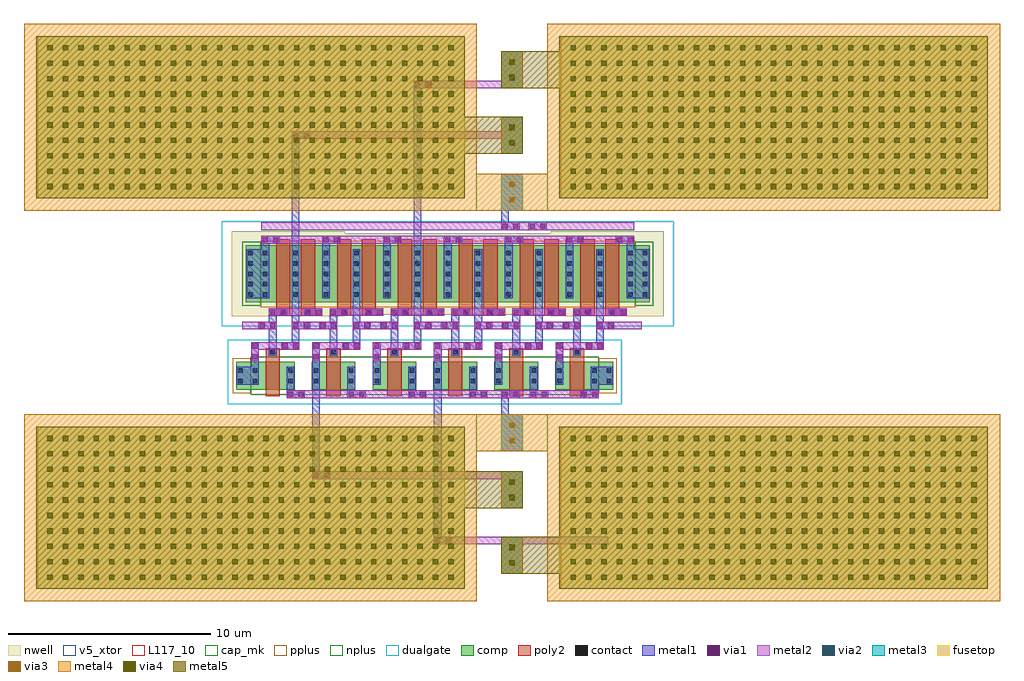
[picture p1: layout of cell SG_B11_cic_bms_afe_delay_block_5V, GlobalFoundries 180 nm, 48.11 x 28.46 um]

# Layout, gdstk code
from math import pi, radians
import gdstk
lib = gdstk.Library(unit=1e-6, precision=5e-09)
def R(c, l, rs):  # rectangles x0, y0, x1, y1
    for r in rs: c.add(gdstk.rectangle(r[:2], r[2:], *l))
def A(c, l, x, y, w, h, nx, ny, dx, dy):  # array of equal rectangles
    R(c, l, [(x+i*dx, y+j*dy, x+i*dx+w, y+j*dy+h) for i in range(nx) for j in range(ny)])
nwell = (21, 0)
comp = (22, 0)
poly2 = (30, 0)
pplus = (31, 0)
nplus = (32, 0)
contact = (33, 0)
metal1 = (34, 0)
via1 = (35, 0)
metal2 = (36, 0)
via2 = (38, 0)
via3 = (40, 0)
via4 = (41, 0)
metal3 = (42, 0)
metal4 = (46, 0)
dualgate = (55, 0)
fusetop = (75, 0)
metal5 = (81, 0)
v5_xtor = (112, 1)
cap_mk = (117, 5)
L117_10 = (117, 10)

cap_mim_2 = lib.new_cell('cap_mim$2')
A(cap_mim_2, via4, 0.45, 0.555, 0.26, 0.26, 10, 27, 0.76, 0.76)
R(cap_mim_2, metal4, [(-0.6,-0.6,8.6,21.725)])
R(cap_mim_2, fusetop, [(0,0,8,21.125)])
R(cap_mim_2, metal5, [(0,0,8,21.125)])
R(cap_mim_2, cap_mk, [(-0.6,-0.6,8.6,21.725)])
R(cap_mim_2, L117_10, [(0,0,8,0.1)])
cap_mim_2.add(gdstk.Label('A', (4,10.56), layer=81, texttype=10))
cap_mim_2.add(gdstk.Label('B', (4,-0.3), layer=46, texttype=10))

cap_mim_1_5 = lib.new_cell('cap_mim$1$5')
A(cap_mim_1_5, via4, 0.45, 0.555, 0.26, 0.26, 10, 27, 0.76, 0.76)
R(cap_mim_1_5, metal4, [(-0.6,-0.6,8.6,21.725)])
R(cap_mim_1_5, fusetop, [(0,0,8,21.125)])
R(cap_mim_1_5, metal5, [(0,0,8,21.125)])
R(cap_mim_1_5, cap_mk, [(-0.6,-0.6,8.6,21.725)])
R(cap_mim_1_5, L117_10, [(0,0,8,0.1)])

cap_mim_4_2 = lib.new_cell('cap_mim$4$2')
A(cap_mim_4_2, via4, 0.45, 0.555, 0.26, 0.26, 10, 27, 0.76, 0.76)
R(cap_mim_4_2, metal4, [(-0.6,-0.6,8.6,21.725)])
R(cap_mim_4_2, fusetop, [(0,0,8,21.125)])
R(cap_mim_4_2, metal5, [(0,0,8,21.125)])
R(cap_mim_4_2, cap_mk, [(-0.6,-0.6,8.6,21.725)])
R(cap_mim_4_2, L117_10, [(0,0,8,0.1)])

pfet_2_7 = lib.new_cell('pfet$2$7')
R(pfet_2_7, nwell, [(-1.07,-0.61,3.61,3.41)])
R(pfet_2_7, comp, [(-0.46,0,0,2.8), (0,0,2.54,2.8), (2.54,0,3,2.8)])
R(pfet_2_7, poly2, [(0.31,-0.68,1.01,-0.3), (1.53,-0.68,2.23,-0.3), (0.31,-0.3,1.01,3.1), (1.53,-0.3,2.23,3.1)])
R(pfet_2_7, pplus, [(-0.63,-0.24,3.17,3.04)])
A(pfet_2_7, contact, -0.34, 0.27, 0.22, 0.22, 3, 5, 1.5, 0.51)
R(pfet_2_7, contact, [(0.55,-0.6,0.77,-0.38), (1.77,-0.6,1.99,-0.38)])
A(pfet_2_7, metal1, -0.42, 0.19, 0.38, 2.42, 3, 1, 1.5, 0)
R(pfet_2_7, metal1, [(0.47,-0.68,0.85,-0.3), (1.69,-0.68,2.07,-0.3)])
R(pfet_2_7, dualgate, [(-1.57,-1.11,4.11,3.91), (-0.88,-1.09,3.42,3.51)])
R(pfet_2_7, v5_xtor, [(-1.57,-1.11,4.11,3.91), (-0.88,-1.09,3.42,3.51)])

nfet_2_8 = lib.new_cell('nfet$2$8')
R(nfet_2_8, comp, [(-0.42,0,0,1.4), (0,0,1.32,1.4), (1.32,0,1.74,1.4)])
R(nfet_2_8, poly2, [(0.31,-0.3,1.01,1.7), (0.31,1.7,1.01,2.06)])
R(nfet_2_8, nplus, [(-0.59,-0.24,1.91,1.64)])
R(nfet_2_8, contact, [(-0.32,0.335,-0.1,0.555), (1.42,0.335,1.64,0.555), (-0.32,0.845,-0.1,1.065), (1.42,0.845,1.64,1.065), (0.55,1.77,0.77,1.99)])
R(nfet_2_8, metal1, [(-0.4,0.255,-0.02,1.145), (1.34,0.255,1.72,1.145), (0.47,1.69,0.85,2.07)])
R(nfet_2_8, dualgate, [(-0.84,-0.71,2.16,2.48)])
R(nfet_2_8, v5_xtor, [(-0.84,-0.71,2.16,2.48)])

sg_b11_cic_bms_afe_inv_1 = lib.new_cell('SG_B11_cic_bms_afe_inv_1x$1$2')
R(sg_b11_cic_bms_afe_inv_1, metal1, [(0.29,1.855,0.67,2.755), (1.77,2.375,2.67,2.755), (0.64,3.385,1.54,3.765), (1.16,4.05,2.06,4.43), (2.9,4.05,3.8,4.43)])
R(sg_b11_cic_bms_afe_inv_1, via1, [(0.35,1.915,0.61,2.175), (0.35,2.435,0.61,2.695), (1.83,2.435,2.09,2.695), (2.35,2.435,2.61,2.695), (0.7,3.445,0.96,3.705), (1.22,3.445,1.48,3.705), (1.22,4.11,1.48,4.37), (1.74,4.11,2,4.37), (2.96,4.11,3.22,4.37), (3.48,4.11,3.74,4.37)])
R(sg_b11_cic_bms_afe_inv_1, metal2, [(0.29,1.855,0.67,2.755), (1.77,2.375,2.67,2.755), (0.64,3.385,1.54,3.765), (1.16,4.05,2.06,4.43), (2.9,4.05,3.8,4.43)])
sg_b11_cic_bms_afe_inv_1.add(gdstk.FlexPath([(0.98,4.92),(0.98,8)], 0.38, ends="flush", simple_path=True, layer=34, datatype=0))  # metal1
sg_b11_cic_bms_afe_inv_1.add(gdstk.FlexPath([(3.98,4.92),(3.98,8)], 0.38, ends="flush", simple_path=True, layer=34, datatype=0))  # metal1
sg_b11_cic_bms_afe_inv_1.add(gdstk.FlexPath([(1.35,2.095),(1.35,4.43)], 0.38, ends="flush", simple_path=True, layer=34, datatype=0))  # metal1
sg_b11_cic_bms_afe_inv_1.add(gdstk.FlexPath([(2.22,1.55),(2.22,0)], 0.38, ends="flush", simple_path=True, layer=34, datatype=0))  # metal1
sg_b11_cic_bms_afe_inv_1.add(gdstk.FlexPath([(0.48,0.66),(0.48,2.755)], 0.38, ends="flush", simple_path=True, layer=34, datatype=0))  # metal1
sg_b11_cic_bms_afe_inv_1.add(gdstk.FlexPath([(2.48,7.34),(2.48,2.375)], 0.38, ends="flush", simple_path=True, layer=34, datatype=0))  # metal1
sg_b11_cic_bms_afe_inv_1.add(gdstk.FlexPath([(1.68,4.24),(3.28,4.24)], 0.38, ends="flush", simple_path=True, layer=36, datatype=0))  # metal2
sg_b11_cic_bms_afe_inv_1.add(gdstk.FlexPath([(0.29,2.565),(2.61,2.565)], 0.38, ends="flush", simple_path=True, layer=36, datatype=0))  # metal2
sg_b11_cic_bms_afe_inv_1.add(gdstk.FlexPath([(-0.15,3.575),(1.54,3.575)], 0.38, ends="flush", simple_path=True, layer=36, datatype=0))  # metal2
sg_b11_cic_bms_afe_inv_1.add(gdstk.Reference(pfet_2_7, (1.21,4.73)))
sg_b11_cic_bms_afe_inv_1.add(gdstk.Reference(nfet_2_8, (0.69,0.405)))
sg_b11_cic_bms_afe_inv_1.add(gdstk.Label('VSS', (0.37,0.155), layer=34, texttype=10))
sg_b11_cic_bms_afe_inv_1.add(gdstk.Label('VDD', (1.59,7.77), layer=34, texttype=10))
sg_b11_cic_bms_afe_inv_1.add(gdstk.Label('VSS', (0.37,0.155), layer=34, texttype=10))
sg_b11_cic_bms_afe_inv_1.add(gdstk.Label('VDD', (1.59,7.77), layer=34, texttype=10))
sg_b11_cic_bms_afe_inv_1.add(gdstk.Label('OUT', (2.23,2.56), layer=36, texttype=10))
sg_b11_cic_bms_afe_inv_1.add(gdstk.Label('IN', (0.5,3.485), layer=36, texttype=10))
sg_b11_cic_bms_afe_inv_1.add(gdstk.Label('OUT', (2.23,2.56), layer=36, texttype=10))
sg_b11_cic_bms_afe_inv_1.add(gdstk.Label('IN', (0.5,3.485), layer=36, texttype=10))

c_sg_b11_cic_bms_afe_inv_1 = lib.new_cell('SG_B11_cic_bms_afe_inv_1x$1$1$2')
R(c_sg_b11_cic_bms_afe_inv_1, metal1, [(0.29,1.855,0.67,2.755), (1.77,2.375,2.67,2.755), (0.64,3.385,1.54,3.765), (1.16,4.05,2.06,4.43), (2.9,4.05,3.8,4.43)])
R(c_sg_b11_cic_bms_afe_inv_1, via1, [(0.35,1.915,0.61,2.175), (0.35,2.435,0.61,2.695), (1.83,2.435,2.09,2.695), (2.35,2.435,2.61,2.695), (0.7,3.445,0.96,3.705), (1.22,3.445,1.48,3.705), (1.22,4.11,1.48,4.37), (1.74,4.11,2,4.37), (2.96,4.11,3.22,4.37), (3.48,4.11,3.74,4.37)])
R(c_sg_b11_cic_bms_afe_inv_1, metal2, [(0.29,1.855,0.67,2.755), (1.77,2.375,2.67,2.755), (0.64,3.385,1.54,3.765), (1.16,4.05,2.06,4.43), (2.9,4.05,3.8,4.43)])
c_sg_b11_cic_bms_afe_inv_1.add(gdstk.FlexPath([(0.98,4.92),(0.98,8)], 0.38, ends="flush", simple_path=True, layer=34, datatype=0))  # metal1
c_sg_b11_cic_bms_afe_inv_1.add(gdstk.FlexPath([(3.98,4.92),(3.98,8)], 0.38, ends="flush", simple_path=True, layer=34, datatype=0))  # metal1
c_sg_b11_cic_bms_afe_inv_1.add(gdstk.FlexPath([(1.35,2.095),(1.35,4.43)], 0.38, ends="flush", simple_path=True, layer=34, datatype=0))  # metal1
c_sg_b11_cic_bms_afe_inv_1.add(gdstk.FlexPath([(2.22,1.55),(2.22,0)], 0.38, ends="flush", simple_path=True, layer=34, datatype=0))  # metal1
c_sg_b11_cic_bms_afe_inv_1.add(gdstk.FlexPath([(0.48,0.66),(0.48,2.755)], 0.38, ends="flush", simple_path=True, layer=34, datatype=0))  # metal1
c_sg_b11_cic_bms_afe_inv_1.add(gdstk.FlexPath([(2.48,7.34),(2.48,2.375)], 0.38, ends="flush", simple_path=True, layer=34, datatype=0))  # metal1
c_sg_b11_cic_bms_afe_inv_1.add(gdstk.FlexPath([(1.68,4.24),(3.28,4.24)], 0.38, ends="flush", simple_path=True, layer=36, datatype=0))  # metal2
c_sg_b11_cic_bms_afe_inv_1.add(gdstk.FlexPath([(0.29,2.565),(2.61,2.565)], 0.38, ends="flush", simple_path=True, layer=36, datatype=0))  # metal2
c_sg_b11_cic_bms_afe_inv_1.add(gdstk.FlexPath([(-0.15,3.575),(1.54,3.575)], 0.38, ends="flush", simple_path=True, layer=36, datatype=0))  # metal2
c_sg_b11_cic_bms_afe_inv_1.add(gdstk.Reference(pfet_2_7, (1.21,4.73)))
c_sg_b11_cic_bms_afe_inv_1.add(gdstk.Reference(nfet_2_8, (0.69,0.405)))
c_sg_b11_cic_bms_afe_inv_1.add(gdstk.Label('VSS', (0.37,0.155), layer=34, texttype=10))
c_sg_b11_cic_bms_afe_inv_1.add(gdstk.Label('VDD', (1.59,7.77), layer=34, texttype=10))
c_sg_b11_cic_bms_afe_inv_1.add(gdstk.Label('VSS', (0.37,0.155), layer=34, texttype=10))
c_sg_b11_cic_bms_afe_inv_1.add(gdstk.Label('VDD', (1.59,7.77), layer=34, texttype=10))
c_sg_b11_cic_bms_afe_inv_1.add(gdstk.Label('OUT', (2.23,2.56), layer=36, texttype=10))
c_sg_b11_cic_bms_afe_inv_1.add(gdstk.Label('IN', (0.5,3.485), layer=36, texttype=10))
c_sg_b11_cic_bms_afe_inv_1.add(gdstk.Label('OUT', (2.23,2.56), layer=36, texttype=10))
c_sg_b11_cic_bms_afe_inv_1.add(gdstk.Label('IN', (0.5,3.485), layer=36, texttype=10))

pfet_14 = lib.new_cell('pfet$14')
R(pfet_14, nwell, [(-1.15,-0.69,4.42,3.49)])
R(pfet_14, comp, [(-0.46,0,0,2.8), (0,0,2.54,2.8), (2.54,0,3,2.8), (3,0,3.73,2.8)])
R(pfet_14, poly2, [(0.31,-0.68,1.01,-0.3), (1.53,-0.68,2.23,-0.3), (0.31,-0.3,1.01,3.1), (1.53,-0.3,2.23,3.1)])
R(pfet_14, pplus, [(-0.63,-0.24,3,3.04)])
R(pfet_14, nplus, [(3,-0.17,3.9,2.97)])
A(pfet_14, contact, -0.34, 0.27, 0.22, 0.22, 3, 5, 1.5, 0.51)
A(pfet_14, contact, 3.39, 0.27, 0.22, 0.22, 1, 5, 0, 0.51)
R(pfet_14, contact, [(0.55,-0.6,0.77,-0.38), (1.77,-0.6,1.99,-0.38)])
A(pfet_14, metal1, -0.42, 0.19, 0.38, 2.42, 3, 1, 1.5, 0)
R(pfet_14, metal1, [(0.47,-0.68,0.85,-0.3), (1.69,-0.68,2.07,-0.3), (3.31,0.19,3.69,2.61)])
R(pfet_14, dualgate, [(-1.65,-1.19,4.92,3.99)])
R(pfet_14, v5_xtor, [(-1.65,-1.19,4.92,3.99)])

nfet_1 = lib.new_cell('nfet$1')
R(nfet_1, comp, [(-0.42,0,0,1.4), (0,0,1.32,1.4), (1.32,0,1.74,1.4), (1.74,0,2.45,1.4)])
R(nfet_1, poly2, [(0.31,-0.3,1.01,1.7), (0.31,1.7,1.01,2.06)])
R(nfet_1, pplus, [(1.74,-0.17,2.62,1.57)])
R(nfet_1, nplus, [(-0.59,-0.24,1.74,1.64)])
R(nfet_1, contact, [(-0.32,0.335,-0.1,0.555), (1.42,0.335,1.64,0.555), (2.13,0.335,2.35,0.555), (-0.32,0.845,-0.1,1.065), (1.42,0.845,1.64,1.065), (2.13,0.845,2.35,1.065), (0.55,1.77,0.77,1.99)])
R(nfet_1, metal1, [(-0.4,0.255,-0.02,1.145), (1.34,0.255,1.72,1.145), (2.05,0.255,2.43,1.145), (0.47,1.69,0.85,2.07)])
R(nfet_1, dualgate, [(-0.84,-0.71,2.87,2.48)])
R(nfet_1, v5_xtor, [(-0.84,-0.71,2.87,2.48)])

c_sg_b11_cic_bms_afe_inv_1_ = lib.new_cell('SG_B11_cic_bms_afe_inv_1x$3')
R(c_sg_b11_cic_bms_afe_inv_1_, metal1, [(-0.42,0.66,0.67,1.55), (0.29,1.855,0.67,2.755), (1.77,2.375,2.67,2.755), (0.64,3.39,1.54,3.77), (1.16,4.05,2.06,4.43), (2.9,4.05,3.8,4.43), (0.06,4.92,1.17,7.34)])
R(c_sg_b11_cic_bms_afe_inv_1_, via1, [(0.35,1.915,0.61,2.175), (0.35,2.435,0.61,2.695), (1.83,2.435,2.09,2.695), (2.35,2.435,2.61,2.695), (0.7,3.45,0.96,3.71), (1.22,3.45,1.48,3.71), (1.22,4.11,1.48,4.37), (1.74,4.11,2,4.37), (2.96,4.11,3.22,4.37), (3.48,4.11,3.74,4.37)])
R(c_sg_b11_cic_bms_afe_inv_1_, metal2, [(0.29,1.855,0.67,2.755), (1.77,2.375,2.67,2.755), (0.64,3.39,1.54,3.77), (1.16,4.05,2.06,4.43), (2.9,4.05,3.8,4.43)])
c_sg_b11_cic_bms_afe_inv_1_.add(gdstk.FlexPath([(0.98,4.92),(0.98,8)], 0.38, ends="flush", simple_path=True, layer=34, datatype=0))  # metal1
c_sg_b11_cic_bms_afe_inv_1_.add(gdstk.FlexPath([(3.98,4.92),(3.98,8)], 0.38, ends="flush", simple_path=True, layer=34, datatype=0))  # metal1
c_sg_b11_cic_bms_afe_inv_1_.add(gdstk.FlexPath([(1.35,2.095),(1.35,4.43)], 0.38, ends="flush", simple_path=True, layer=34, datatype=0))  # metal1
c_sg_b11_cic_bms_afe_inv_1_.add(gdstk.FlexPath([(2.22,1.55),(2.22,0)], 0.38, ends="flush", simple_path=True, layer=34, datatype=0))  # metal1
c_sg_b11_cic_bms_afe_inv_1_.add(gdstk.FlexPath([(0.48,0.66),(0.48,2.755)], 0.38, ends="flush", simple_path=True, layer=34, datatype=0))  # metal1
c_sg_b11_cic_bms_afe_inv_1_.add(gdstk.FlexPath([(2.48,7.34),(2.48,2.375)], 0.38, ends="flush", simple_path=True, layer=34, datatype=0))  # metal1
c_sg_b11_cic_bms_afe_inv_1_.add(gdstk.FlexPath([(1.68,4.24),(3.28,4.24)], 0.38, ends="flush", simple_path=True, layer=36, datatype=0))  # metal2
c_sg_b11_cic_bms_afe_inv_1_.add(gdstk.FlexPath([(0.29,2.565),(2.61,2.565)], 0.38, ends="flush", simple_path=True, layer=36, datatype=0))  # metal2
c_sg_b11_cic_bms_afe_inv_1_.add(gdstk.FlexPath([(-0.15,3.58),(1.54,3.58)], 0.38, ends="flush", simple_path=True, layer=36, datatype=0))  # metal2
c_sg_b11_cic_bms_afe_inv_1_.add(gdstk.Reference(pfet_14, (3.75,4.73), rotation=pi, x_reflection=True))
c_sg_b11_cic_bms_afe_inv_1_.add(gdstk.Reference(nfet_1, (2.01,0.405), rotation=pi, x_reflection=True))
c_sg_b11_cic_bms_afe_inv_1_.add(gdstk.Label('VSS', (0.37,0.155), layer=34, texttype=10))
c_sg_b11_cic_bms_afe_inv_1_.add(gdstk.Label('VDD', (1.59,7.77), layer=34, texttype=10))
c_sg_b11_cic_bms_afe_inv_1_.add(gdstk.Label('VSS', (0.37,0.155), layer=34, texttype=10))
c_sg_b11_cic_bms_afe_inv_1_.add(gdstk.Label('VDD', (1.59,7.77), layer=34, texttype=10))
c_sg_b11_cic_bms_afe_inv_1_.add(gdstk.Label('OUT', (2.23,2.56), layer=36, texttype=10))
c_sg_b11_cic_bms_afe_inv_1_.add(gdstk.Label('IN', (0.5,3.485), layer=36, texttype=10))
c_sg_b11_cic_bms_afe_inv_1_.add(gdstk.Label('OUT', (2.23,2.56), layer=36, texttype=10))
c_sg_b11_cic_bms_afe_inv_1_.add(gdstk.Label('IN', (0.5,3.485), layer=36, texttype=10))

c_sg_b11_cic_bms_afe_inv_1__ = lib.new_cell('SG_B11_cic_bms_afe_inv_1x$2$2')
R(c_sg_b11_cic_bms_afe_inv_1__, metal1, [(0.29,1.855,0.67,2.755), (1.77,2.375,2.67,2.755), (0.64,3.385,1.54,3.765), (1.16,4.05,2.06,4.43), (2.9,4.05,3.8,4.43)])
R(c_sg_b11_cic_bms_afe_inv_1__, via1, [(0.35,1.915,0.61,2.175), (0.35,2.435,0.61,2.695), (1.83,2.435,2.09,2.695), (2.35,2.435,2.61,2.695), (0.7,3.445,0.96,3.705), (1.22,3.445,1.48,3.705), (1.22,4.11,1.48,4.37), (1.74,4.11,2,4.37), (2.96,4.11,3.22,4.37), (3.48,4.11,3.74,4.37)])
R(c_sg_b11_cic_bms_afe_inv_1__, metal2, [(0.29,1.855,0.67,2.755), (1.77,2.375,2.67,2.755), (0.64,3.385,1.54,3.765), (1.16,4.05,2.06,4.43), (2.9,4.05,3.8,4.43)])
c_sg_b11_cic_bms_afe_inv_1__.add(gdstk.FlexPath([(0.98,4.92),(0.98,8)], 0.38, ends="flush", simple_path=True, layer=34, datatype=0))  # metal1
c_sg_b11_cic_bms_afe_inv_1__.add(gdstk.FlexPath([(3.98,4.92),(3.98,8)], 0.38, ends="flush", simple_path=True, layer=34, datatype=0))  # metal1
c_sg_b11_cic_bms_afe_inv_1__.add(gdstk.FlexPath([(1.35,2.095),(1.35,4.43)], 0.38, ends="flush", simple_path=True, layer=34, datatype=0))  # metal1
c_sg_b11_cic_bms_afe_inv_1__.add(gdstk.FlexPath([(2.22,1.55),(2.22,0)], 0.38, ends="flush", simple_path=True, layer=34, datatype=0))  # metal1
c_sg_b11_cic_bms_afe_inv_1__.add(gdstk.FlexPath([(0.48,0.66),(0.48,2.755)], 0.38, ends="flush", simple_path=True, layer=34, datatype=0))  # metal1
c_sg_b11_cic_bms_afe_inv_1__.add(gdstk.FlexPath([(2.48,7.34),(2.48,2.375)], 0.38, ends="flush", simple_path=True, layer=34, datatype=0))  # metal1
c_sg_b11_cic_bms_afe_inv_1__.add(gdstk.FlexPath([(1.68,4.24),(3.28,4.24)], 0.38, ends="flush", simple_path=True, layer=36, datatype=0))  # metal2
c_sg_b11_cic_bms_afe_inv_1__.add(gdstk.FlexPath([(0.29,2.565),(2.61,2.565)], 0.38, ends="flush", simple_path=True, layer=36, datatype=0))  # metal2
c_sg_b11_cic_bms_afe_inv_1__.add(gdstk.FlexPath([(-0.15,3.575),(1.54,3.575)], 0.38, ends="flush", simple_path=True, layer=36, datatype=0))  # metal2
c_sg_b11_cic_bms_afe_inv_1__.add(gdstk.Reference(pfet_2_7, (1.21,4.73)))
c_sg_b11_cic_bms_afe_inv_1__.add(gdstk.Reference(nfet_2_8, (0.69,0.405)))
c_sg_b11_cic_bms_afe_inv_1__.add(gdstk.Label('VSS', (0.37,0.155), layer=34, texttype=10))
c_sg_b11_cic_bms_afe_inv_1__.add(gdstk.Label('VDD', (1.59,7.77), layer=34, texttype=10))
c_sg_b11_cic_bms_afe_inv_1__.add(gdstk.Label('VSS', (0.37,0.155), layer=34, texttype=10))
c_sg_b11_cic_bms_afe_inv_1__.add(gdstk.Label('VDD', (1.59,7.77), layer=34, texttype=10))
c_sg_b11_cic_bms_afe_inv_1__.add(gdstk.Label('OUT', (2.23,2.56), layer=36, texttype=10))
c_sg_b11_cic_bms_afe_inv_1__.add(gdstk.Label('IN', (0.5,3.485), layer=36, texttype=10))
c_sg_b11_cic_bms_afe_inv_1__.add(gdstk.Label('OUT', (2.23,2.56), layer=36, texttype=10))
c_sg_b11_cic_bms_afe_inv_1__.add(gdstk.Label('IN', (0.5,3.485), layer=36, texttype=10))

c_sg_b11_cic_bms_afe_inv_1___ = lib.new_cell('SG_B11_cic_bms_afe_inv_1x$1$1$1$2')
R(c_sg_b11_cic_bms_afe_inv_1___, metal1, [(2.03,0.66,3.12,1.55), (0.29,1.855,0.67,2.755), (1.77,2.375,2.67,2.755), (0.64,3.385,1.54,3.765), (1.16,4.05,2.06,4.43), (2.9,4.05,3.8,4.43), (3.79,4.92,4.9,7.34)])
R(c_sg_b11_cic_bms_afe_inv_1___, via1, [(0.35,1.915,0.61,2.175), (0.35,2.435,0.61,2.695), (1.83,2.435,2.09,2.695), (2.35,2.435,2.61,2.695), (0.7,3.445,0.96,3.705), (1.22,3.445,1.48,3.705), (1.22,4.11,1.48,4.37), (1.74,4.11,2,4.37), (2.96,4.11,3.22,4.37), (3.48,4.11,3.74,4.37)])
R(c_sg_b11_cic_bms_afe_inv_1___, metal2, [(0.29,1.855,0.67,2.755), (1.77,2.375,2.67,2.755), (0.64,3.385,1.54,3.765), (1.16,4.05,2.06,4.43), (2.9,4.05,3.8,4.43)])
c_sg_b11_cic_bms_afe_inv_1___.add(gdstk.FlexPath([(0.98,4.92),(0.98,8)], 0.38, ends="flush", simple_path=True, layer=34, datatype=0))  # metal1
c_sg_b11_cic_bms_afe_inv_1___.add(gdstk.FlexPath([(3.98,4.92),(3.98,8)], 0.38, ends="flush", simple_path=True, layer=34, datatype=0))  # metal1
c_sg_b11_cic_bms_afe_inv_1___.add(gdstk.FlexPath([(1.35,2.095),(1.35,4.43)], 0.38, ends="flush", simple_path=True, layer=34, datatype=0))  # metal1
c_sg_b11_cic_bms_afe_inv_1___.add(gdstk.FlexPath([(2.22,1.55),(2.22,0)], 0.38, ends="flush", simple_path=True, layer=34, datatype=0))  # metal1
c_sg_b11_cic_bms_afe_inv_1___.add(gdstk.FlexPath([(0.48,0.66),(0.48,2.755)], 0.38, ends="flush", simple_path=True, layer=34, datatype=0))  # metal1
c_sg_b11_cic_bms_afe_inv_1___.add(gdstk.FlexPath([(2.48,7.34),(2.48,2.375)], 0.38, ends="flush", simple_path=True, layer=34, datatype=0))  # metal1
c_sg_b11_cic_bms_afe_inv_1___.add(gdstk.FlexPath([(1.68,4.24),(3.28,4.24)], 0.38, ends="flush", simple_path=True, layer=36, datatype=0))  # metal2
c_sg_b11_cic_bms_afe_inv_1___.add(gdstk.FlexPath([(0.29,2.565),(2.61,2.565)], 0.38, ends="flush", simple_path=True, layer=36, datatype=0))  # metal2
c_sg_b11_cic_bms_afe_inv_1___.add(gdstk.FlexPath([(-0.15,3.575),(1.54,3.575)], 0.38, ends="flush", simple_path=True, layer=36, datatype=0))  # metal2
c_sg_b11_cic_bms_afe_inv_1___.add(gdstk.Reference(pfet_14, (1.21,4.73)))
c_sg_b11_cic_bms_afe_inv_1___.add(gdstk.Reference(nfet_1, (0.69,0.405)))
c_sg_b11_cic_bms_afe_inv_1___.add(gdstk.Label('VSS', (0.37,0.155), layer=34, texttype=10))
c_sg_b11_cic_bms_afe_inv_1___.add(gdstk.Label('VDD', (1.59,7.77), layer=34, texttype=10))
c_sg_b11_cic_bms_afe_inv_1___.add(gdstk.Label('VSS', (0.37,0.155), layer=34, texttype=10))
c_sg_b11_cic_bms_afe_inv_1___.add(gdstk.Label('VDD', (1.59,7.77), layer=34, texttype=10))
c_sg_b11_cic_bms_afe_inv_1___.add(gdstk.Label('OUT', (2.23,2.56), layer=36, texttype=10))
c_sg_b11_cic_bms_afe_inv_1___.add(gdstk.Label('IN', (0.5,3.485), layer=36, texttype=10))
c_sg_b11_cic_bms_afe_inv_1___.add(gdstk.Label('OUT', (2.23,2.56), layer=36, texttype=10))
c_sg_b11_cic_bms_afe_inv_1___.add(gdstk.Label('IN', (0.5,3.485), layer=36, texttype=10))

c_sg_b11_cic_bms_afe_inv_1____ = lib.new_cell('SG_B11_cic_bms_afe_inv_1x$2$1$2')
R(c_sg_b11_cic_bms_afe_inv_1____, metal1, [(0.29,1.855,0.67,2.755), (1.77,2.375,2.67,2.755), (0.64,3.385,1.54,3.765), (1.16,4.05,2.06,4.43), (2.9,4.05,3.8,4.43)])
R(c_sg_b11_cic_bms_afe_inv_1____, via1, [(0.35,1.915,0.61,2.175), (0.35,2.435,0.61,2.695), (1.83,2.435,2.09,2.695), (2.35,2.435,2.61,2.695), (0.7,3.445,0.96,3.705), (1.22,3.445,1.48,3.705), (1.22,4.11,1.48,4.37), (1.74,4.11,2,4.37), (2.96,4.11,3.22,4.37), (3.48,4.11,3.74,4.37)])
R(c_sg_b11_cic_bms_afe_inv_1____, metal2, [(0.29,1.855,0.67,2.755), (1.77,2.375,2.67,2.755), (0.64,3.385,1.54,3.765), (1.16,4.05,2.06,4.43), (2.9,4.05,3.8,4.43)])
c_sg_b11_cic_bms_afe_inv_1____.add(gdstk.FlexPath([(0.98,4.92),(0.98,8)], 0.38, ends="flush", simple_path=True, layer=34, datatype=0))  # metal1
c_sg_b11_cic_bms_afe_inv_1____.add(gdstk.FlexPath([(3.98,4.92),(3.98,8)], 0.38, ends="flush", simple_path=True, layer=34, datatype=0))  # metal1
c_sg_b11_cic_bms_afe_inv_1____.add(gdstk.FlexPath([(1.35,2.095),(1.35,4.43)], 0.38, ends="flush", simple_path=True, layer=34, datatype=0))  # metal1
c_sg_b11_cic_bms_afe_inv_1____.add(gdstk.FlexPath([(2.22,1.55),(2.22,0)], 0.38, ends="flush", simple_path=True, layer=34, datatype=0))  # metal1
c_sg_b11_cic_bms_afe_inv_1____.add(gdstk.FlexPath([(0.48,0.66),(0.48,2.755)], 0.38, ends="flush", simple_path=True, layer=34, datatype=0))  # metal1
c_sg_b11_cic_bms_afe_inv_1____.add(gdstk.FlexPath([(2.48,7.34),(2.48,2.375)], 0.38, ends="flush", simple_path=True, layer=34, datatype=0))  # metal1
c_sg_b11_cic_bms_afe_inv_1____.add(gdstk.FlexPath([(1.68,4.24),(3.28,4.24)], 0.38, ends="flush", simple_path=True, layer=36, datatype=0))  # metal2
c_sg_b11_cic_bms_afe_inv_1____.add(gdstk.FlexPath([(0.29,2.565),(2.61,2.565)], 0.38, ends="flush", simple_path=True, layer=36, datatype=0))  # metal2
c_sg_b11_cic_bms_afe_inv_1____.add(gdstk.FlexPath([(-0.15,3.575),(1.54,3.575)], 0.38, ends="flush", simple_path=True, layer=36, datatype=0))  # metal2
c_sg_b11_cic_bms_afe_inv_1____.add(gdstk.Reference(pfet_2_7, (1.21,4.73)))
c_sg_b11_cic_bms_afe_inv_1____.add(gdstk.Reference(nfet_2_8, (0.69,0.405)))
c_sg_b11_cic_bms_afe_inv_1____.add(gdstk.Label('VSS', (0.37,0.155), layer=34, texttype=10))
c_sg_b11_cic_bms_afe_inv_1____.add(gdstk.Label('VDD', (1.59,7.77), layer=34, texttype=10))
c_sg_b11_cic_bms_afe_inv_1____.add(gdstk.Label('VSS', (0.37,0.155), layer=34, texttype=10))
c_sg_b11_cic_bms_afe_inv_1____.add(gdstk.Label('VDD', (1.59,7.77), layer=34, texttype=10))
c_sg_b11_cic_bms_afe_inv_1____.add(gdstk.Label('OUT', (2.23,2.56), layer=36, texttype=10))
c_sg_b11_cic_bms_afe_inv_1____.add(gdstk.Label('IN', (0.5,3.485), layer=36, texttype=10))
c_sg_b11_cic_bms_afe_inv_1____.add(gdstk.Label('OUT', (2.23,2.56), layer=36, texttype=10))
c_sg_b11_cic_bms_afe_inv_1____.add(gdstk.Label('IN', (0.5,3.485), layer=36, texttype=10))

sg_b11_cic_bms_afe_delay = lib.new_cell('SG_B11_cic_bms_afe_delay_block_5V')
R(sg_b11_cic_bms_afe_delay, nplus, [(-13.59,0.165,3.57,2.045)])
A(sg_b11_cic_bms_afe_delay, metal1, -11.83, 0, 0.9, 0.38, 4, 1, 3, 0)
A(sg_b11_cic_bms_afe_delay, metal1, -11.57, 3.385, 0.9, 0.38, 5, 1, 3, 0)
A(sg_b11_cic_bms_afe_delay, metal1, -13.07, 7.62, 0.9, 0.38, 6, 1, 3, 0)
R(sg_b11_cic_bms_afe_delay, metal1, [(-1.245,-8.645,-0.185,-6.825), (-1.245,-8.645,-0.185,-6.825), (-4.57,-7.205,-3.67,-6.825), (-1.245,-5.43,-0.185,-3.61), (-1.245,-5.43,-0.185,-3.61), (-10.57,-3.99,-9.67,-3.61), (-1.245,-2.625,-0.185,-0.805), (-1.245,-2.625,-0.185,-0.805), (-1.245,0,-0.345,0.38), (0.17,0,1.07,0.38), (2.65,0,3.55,0.38), (3.43,3.39,4.33,3.77), (4.41,7.62,5.31,8), (-1.245,8.28,-0.345,8.66), (0.095,8.28,0.995,8.66), (-1.245,9.25,-0.185,11.07), (-1.245,9.25,-0.185,11.07), (-1.245,12.055,-0.185,13.875), (-1.245,12.055,-0.185,13.875), (-11.57,12.775,-10.67,13.155), (-5.57,15.27,-4.67,15.65), (-1.245,15.27,-0.185,17.09), (-1.245,15.27,-0.185,17.09)])
R(sg_b11_cic_bms_afe_delay, via1, [(-0.845,-8.245,-0.585,-7.985), (-0.845,-7.485,-0.585,-7.225), (-4.51,-7.145,-4.25,-6.885), (-3.99,-7.145,-3.73,-6.885), (-0.845,-5.03,-0.585,-4.77), (-0.845,-4.27,-0.585,-4.01), (-10.51,-3.93,-10.25,-3.67), (-9.99,-3.93,-9.73,-3.67), (-0.845,-2.225,-0.585,-1.965), (-0.845,-1.465,-0.585,-1.205), (-11.77,0.06,-11.51,0.32), (-11.25,0.06,-10.99,0.32), (-8.77,0.06,-8.51,0.32), (-8.25,0.06,-7.99,0.32), (-5.77,0.06,-5.51,0.32), (-5.25,0.06,-4.99,0.32), (-2.77,0.06,-2.51,0.32), (-2.25,0.06,-1.99,0.32), (-1.185,0.06,-0.925,0.32), (-0.665,0.06,-0.405,0.32), (0.23,0.06,0.49,0.32), (0.75,0.06,1.01,0.32), (2.71,0.06,2.97,0.32), (3.23,0.06,3.49,0.32), (-11.51,3.445,-11.25,3.705), (-10.99,3.445,-10.73,3.705), (-8.51,3.445,-8.25,3.705), (-7.99,3.445,-7.73,3.705), (-5.51,3.445,-5.25,3.705), (-4.99,3.445,-4.73,3.705), (-2.51,3.445,-2.25,3.705), (-1.99,3.445,-1.73,3.705), (0.49,3.445,0.75,3.705), (1.01,3.445,1.27,3.705), (3.49,3.45,3.75,3.71), (4.01,3.45,4.27,3.71), (-13.01,7.68,-12.75,7.94), (-12.49,7.68,-12.23,7.94), (-10.01,7.68,-9.75,7.94), (-9.49,7.68,-9.23,7.94), (-7.01,7.68,-6.75,7.94), (-6.49,7.68,-6.23,7.94), (-4.01,7.68,-3.75,7.94), (-3.49,7.68,-3.23,7.94), (-1.01,7.68,-0.75,7.94), (-0.49,7.68,-0.23,7.94), (1.99,7.68,2.25,7.94), (2.51,7.68,2.77,7.94), (4.47,7.68,4.73,7.94), (4.99,7.68,5.25,7.94), (-1.185,8.34,-0.925,8.6), (-0.665,8.34,-0.405,8.6), (0.155,8.34,0.415,8.6), (0.675,8.34,0.935,8.6), (-0.845,9.65,-0.585,9.91), (-0.845,10.41,-0.585,10.67), (-0.845,12.455,-0.585,12.715), (-11.51,12.835,-11.25,13.095), (-10.99,12.835,-10.73,13.095), (-0.845,13.215,-0.585,13.475), (-5.51,15.33,-5.25,15.59), (-4.99,15.33,-4.73,15.59), (-0.845,15.67,-0.585,15.93), (-0.845,16.43,-0.585,16.69)])
A(sg_b11_cic_bms_afe_delay, metal2, -11.83, 0, 0.9, 0.38, 4, 1, 3, 0)
A(sg_b11_cic_bms_afe_delay, metal2, -11.57, 3.385, 0.9, 0.38, 5, 1, 3, 0)
A(sg_b11_cic_bms_afe_delay, metal2, -13.07, 7.62, 0.9, 0.38, 6, 1, 3, 0)
R(sg_b11_cic_bms_afe_delay, metal2, [(-1.245,-8.645,-0.185,-6.825), (-4.57,-7.205,-3.67,-6.825), (-1.245,-5.43,-0.185,-3.61), (-10.57,-3.99,-9.67,-3.61), (-1.245,-2.625,-0.185,-0.805), (-1.245,0,-0.345,0.38), (0.17,0,1.07,0.38), (2.65,0,3.55,0.38), (3.43,3.39,4.33,3.77), (4.41,7.62,5.31,8), (-1.245,8.28,-0.345,8.66), (0.095,8.28,0.995,8.66), (-1.245,9.25,-0.185,11.07), (-1.245,12.055,-0.185,13.875), (-11.57,12.775,-10.67,13.155), (-5.57,15.27,-4.67,15.65), (-1.245,15.27,-0.185,17.09)])
R(sg_b11_cic_bms_afe_delay, via2, [(-0.845,-8.245,-0.585,-7.985), (-0.845,-8.245,-0.585,-7.985), (-0.845,-7.485,-0.585,-7.225), (-0.845,-7.485,-0.585,-7.225), (-0.845,-5.03,-0.585,-4.77), (-0.845,-5.03,-0.585,-4.77), (-0.845,-4.27,-0.585,-4.01), (-0.845,-4.27,-0.585,-4.01), (-0.845,-2.225,-0.585,-1.965), (-0.845,-2.225,-0.585,-1.965), (-0.845,-1.465,-0.585,-1.205), (-0.845,-1.465,-0.585,-1.205), (-0.845,9.65,-0.585,9.91), (-0.845,9.65,-0.585,9.91), (-0.845,10.41,-0.585,10.67), (-0.845,10.41,-0.585,10.67), (-0.845,12.455,-0.585,12.715), (-0.845,12.455,-0.585,12.715), (-0.845,13.215,-0.585,13.475), (-0.845,13.215,-0.585,13.475), (-0.845,15.67,-0.585,15.93), (-0.845,15.67,-0.585,15.93), (-0.845,16.43,-0.585,16.69), (-0.845,16.43,-0.585,16.69)])
R(sg_b11_cic_bms_afe_delay, via3, [(-0.845,-8.245,-0.585,-7.985), (-0.845,-7.485,-0.585,-7.225), (-0.845,-5.03,-0.585,-4.77), (-0.845,-4.27,-0.585,-4.01), (-0.845,-2.225,-0.585,-1.965), (-0.845,-1.465,-0.585,-1.205), (-0.845,9.65,-0.585,9.91), (-0.845,10.41,-0.585,10.67), (-0.845,12.455,-0.585,12.715), (-0.845,13.215,-0.585,13.475), (-0.845,15.67,-0.585,15.93), (-0.845,16.43,-0.585,16.69)])
R(sg_b11_cic_bms_afe_delay, via4, [(-0.845,-8.245,-0.585,-7.985), (-0.845,-7.485,-0.585,-7.225), (-0.845,-5.03,-0.585,-4.77), (-0.845,-4.27,-0.585,-4.01), (-0.845,12.455,-0.585,12.715), (-0.845,13.215,-0.585,13.475), (-0.845,15.67,-0.585,15.93), (-0.845,16.43,-0.585,16.69)])
R(sg_b11_cic_bms_afe_delay, metal3, [(-1.245,-8.645,-0.185,-6.825), (-1.245,-5.43,-0.185,-3.61), (-1.245,-2.625,-0.185,-0.805), (-1.245,9.25,-0.185,11.07), (-1.245,12.055,-0.185,13.875), (-1.245,15.27,-0.185,17.09)])
R(sg_b11_cic_bms_afe_delay, metal4, [(-1.245,-8.645,-0.185,-6.825), (-1.245,-5.43,-0.185,-3.61), (-2.765,-2.625,-0.185,-0.805), (-1.245,-2.625,1.455,-0.805), (-1.245,-2.625,-0.185,-0.805), (-2.765,9.25,-0.185,11.07), (-1.245,9.25,1.455,11.07), (-1.245,9.25,-0.185,11.07), (-1.245,12.055,-0.185,13.875), (-1.245,15.27,-0.185,17.09)])
R(sg_b11_cic_bms_afe_delay, dualgate, [(-15.03,3.54,7.27,8.72)])
R(sg_b11_cic_bms_afe_delay, metal5, [(-1.245,-8.645,4.04,-6.825), (-1.245,-8.645,-0.185,-6.825), (-5.47,-5.43,-0.185,-3.61), (-1.245,-5.43,-0.185,-3.61), (-5.47,12.055,-0.185,13.875), (-1.245,12.055,-0.185,13.875), (-1.245,15.27,4.04,17.09), (-1.245,15.27,-0.185,17.09)])
R(sg_b11_cic_bms_afe_delay, v5_xtor, [(-15.03,3.54,7.27,8.72)])
sg_b11_cic_bms_afe_delay.add(gdstk.FlexPath([(-1.055,-2.625),(-1.055,0.38)], 0.38, ends="flush", simple_path=True, layer=34, datatype=0))  # metal1
sg_b11_cic_bms_afe_delay.add(gdstk.FlexPath([(-4.38,1.55),(-4.38,-7.205)], 0.38, ends="flush", simple_path=True, layer=34, datatype=0))  # metal1
sg_b11_cic_bms_afe_delay.add(gdstk.FlexPath([(-1.06,11.07),(-1.06,8.28)], 0.38, ends="flush", simple_path=True, layer=34, datatype=0))  # metal1
sg_b11_cic_bms_afe_delay.add(gdstk.FlexPath([(-11.38,4.92),(-11.38,13.155)], 0.38, ends="flush", simple_path=True, layer=34, datatype=0))  # metal1
sg_b11_cic_bms_afe_delay.add(gdstk.FlexPath([(-5.38,4.92),(-5.38,15.65)], 0.38, ends="flush", simple_path=True, layer=34, datatype=0))  # metal1
sg_b11_cic_bms_afe_delay.add(gdstk.FlexPath([(-10.38,-3.99),(-10.38,1.55)], 0.38, ends="flush", simple_path=True, layer=34, datatype=0))  # metal1
sg_b11_cic_bms_afe_delay.add(gdstk.FlexPath([(-11.57,3.575),(-9.32,3.575),(-9.32,3.575)], 0.38, ends="flush", simple_path=True, layer=36, datatype=0))  # metal2
sg_b11_cic_bms_afe_delay.add(gdstk.FlexPath([(-8.57,3.575),(-6.32,3.575),(-6.32,3.575)], 0.38, ends="flush", simple_path=True, layer=36, datatype=0))  # metal2
sg_b11_cic_bms_afe_delay.add(gdstk.FlexPath([(-5.57,3.575),(-3.32,3.575),(-3.32,3.575)], 0.38, ends="flush", simple_path=True, layer=36, datatype=0))  # metal2
sg_b11_cic_bms_afe_delay.add(gdstk.FlexPath([(-2.57,3.575),(-0.32,3.575),(-0.32,3.575)], 0.38, ends="flush", simple_path=True, layer=36, datatype=0))  # metal2
sg_b11_cic_bms_afe_delay.add(gdstk.FlexPath([(0.43,3.575),(2.68,3.575),(2.68,3.575)], 0.38, ends="flush", simple_path=True, layer=36, datatype=0))  # metal2
sg_b11_cic_bms_afe_delay.add(gdstk.FlexPath([(-11.83,0.19),(3.55,0.19)], 0.38, ends="flush", simple_path=True, layer=36, datatype=0))  # metal2
sg_b11_cic_bms_afe_delay.add(gdstk.FlexPath([(5.31,7.81),(-13.07,7.81)], 0.38, ends="flush", simple_path=True, layer=36, datatype=0))  # metal2
sg_b11_cic_bms_afe_delay.add(gdstk.FlexPath([(3.43,3.58),(5.68,3.58),(5.68,3.58)], 0.38, ends="flush", simple_path=True, layer=36, datatype=0))  # metal2
sg_b11_cic_bms_afe_delay.add(gdstk.FlexPath([(4.04,-7.015),(-4.57,-7.015)], 0.38, ends="flush", simple_path=True, layer=36, datatype=0))  # metal2
sg_b11_cic_bms_afe_delay.add(gdstk.FlexPath([(-0.185,-3.8),(-10.57,-3.8)], 0.38, ends="flush", simple_path=True, layer=36, datatype=0))  # metal2
sg_b11_cic_bms_afe_delay.add(gdstk.FlexPath([(-0.185,15.46),(-0.225,15.46),(-5.57,15.46)], 0.38, ends="flush", simple_path=True, layer=36, datatype=0))  # metal2
sg_b11_cic_bms_afe_delay.add(gdstk.FlexPath([(-0.185,12.965),(-11.57,12.965)], 0.38, ends="flush", simple_path=True, layer=36, datatype=0))  # metal2
sg_b11_cic_bms_afe_delay.add(gdstk.FlexPath([(5.31,8.47),(-13.07,8.47)], 0.38, ends="flush", simple_path=True, layer=36, datatype=0))  # metal2
sg_b11_cic_bms_afe_delay.add(gdstk.Reference(cap_mim_2, (1.615,17.85), rotation=3*pi/2))
sg_b11_cic_bms_afe_delay.add(gdstk.Reference(cap_mim_1_5, (-24.17,17.85), rotation=3*pi/2))
sg_b11_cic_bms_afe_delay.add(gdstk.Reference(cap_mim_4_2, (1.615,-1.405), rotation=3*pi/2))
sg_b11_cic_bms_afe_delay.add(gdstk.Reference(cap_mim_4_2, (-24.17,-1.405), rotation=3*pi/2))
sg_b11_cic_bms_afe_delay.add(gdstk.Reference(sg_b11_cic_bms_afe_inv_1, (-10.86,0)))
sg_b11_cic_bms_afe_delay.add(gdstk.Reference(c_sg_b11_cic_bms_afe_inv_1, (-4.86,0)))
sg_b11_cic_bms_afe_delay.add(gdstk.Reference(c_sg_b11_cic_bms_afe_inv_1_, (-13.86,0)))
sg_b11_cic_bms_afe_delay.add(gdstk.Reference(c_sg_b11_cic_bms_afe_inv_1__, (-7.86,0)))
sg_b11_cic_bms_afe_delay.add(gdstk.Reference(c_sg_b11_cic_bms_afe_inv_1___, (1.14,0)))
sg_b11_cic_bms_afe_delay.add(gdstk.Reference(c_sg_b11_cic_bms_afe_inv_1____, (-1.86,0)))

lib.write_gds('SG_B11_cic_bms_afe_delay_block_5V.gds')
